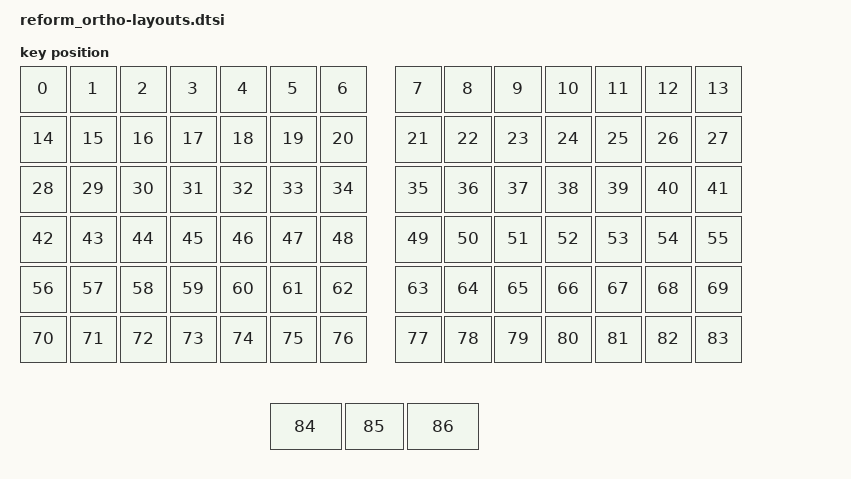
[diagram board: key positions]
/*
  SPDX-License-Identifier: GPL-3.0-or-later
  Copyright 2026 Gordon Q
*/

#include <physical_layouts.dtsi>

/ {
    reform_ortho_layout: reform_ortho_layout {
        compatible = "zmk,physical-layout";
        display-name = "MNT Reform Ortho Layout";

        keys  //                     w   h    x    y     rot    rx    ry
            = <&key_physical_attrs 100 100    0    0       0     0     0>
            , <&key_physical_attrs 100 100  100    0       0     0     0>
            , <&key_physical_attrs 100 100  200    0       0     0     0>
            , <&key_physical_attrs 100 100  300    0       0     0     0>
            , <&key_physical_attrs 100 100  400    0       0     0     0>
            , <&key_physical_attrs 100 100  500    0       0     0     0>
            , <&key_physical_attrs 100 100  600    0       0     0     0>
            , <&key_physical_attrs 100 100  750    0       0     0     0>
            , <&key_physical_attrs 100 100  850    0       0     0     0>
            , <&key_physical_attrs 100 100  950    0       0     0     0>
            , <&key_physical_attrs 100 100 1050    0       0     0     0>
            , <&key_physical_attrs 100 100 1150    0       0     0     0>
            , <&key_physical_attrs 100 100 1250    0       0     0     0>
            , <&key_physical_attrs 100 100 1350    0       0     0     0>
            , <&key_physical_attrs 100 100    0  100       0     0     0>
            , <&key_physical_attrs 100 100  100  100       0     0     0>
            , <&key_physical_attrs 100 100  200  100       0     0     0>
            , <&key_physical_attrs 100 100  300  100       0     0     0>
            , <&key_physical_attrs 100 100  400  100       0     0     0>
            , <&key_physical_attrs 100 100  500  100       0     0     0>
            , <&key_physical_attrs 100 100  600  100       0     0     0>
            , <&key_physical_attrs 100 100  750  100       0     0     0>
            , <&key_physical_attrs 100 100  850  100       0     0     0>
            , <&key_physical_attrs 100 100  950  100       0     0     0>
            , <&key_physical_attrs 100 100 1050  100       0     0     0>
            , <&key_physical_attrs 100 100 1150  100       0     0     0>
            , <&key_physical_attrs 100 100 1250  100       0     0     0>
            , <&key_physical_attrs 100 100 1350  100       0     0     0>
            , <&key_physical_attrs 100 100    0  200       0     0     0>
            , <&key_physical_attrs 100 100  100  200       0     0     0>
            , <&key_physical_attrs 100 100  200  200       0     0     0>
            , <&key_physical_attrs 100 100  300  200       0     0     0>
            , <&key_physical_attrs 100 100  400  200       0     0     0>
            , <&key_physical_attrs 100 100  500  200       0     0     0>
            , <&key_physical_attrs 100 100  600  200       0     0     0>
            , <&key_physical_attrs 100 100  750  200       0     0     0>
            , <&key_physical_attrs 100 100  850  200       0     0     0>
            , <&key_physical_attrs 100 100  950  200       0     0     0>
            , <&key_physical_attrs 100 100 1050  200       0     0     0>
            , <&key_physical_attrs 100 100 1150  200       0     0     0>
            , <&key_physical_attrs 100 100 1250  200       0     0     0>
            , <&key_physical_attrs 100 100 1350  200       0     0     0>
            , <&key_physical_attrs 100 100    0  300       0     0     0>
            , <&key_physical_attrs 100 100  100  300       0     0     0>
            , <&key_physical_attrs 100 100  200  300       0     0     0>
            , <&key_physical_attrs 100 100  300  300       0     0     0>
            , <&key_physical_attrs 100 100  400  300       0     0     0>
            , <&key_physical_attrs 100 100  500  300       0     0     0>
            , <&key_physical_attrs 100 100  600  300       0     0     0>
            , <&key_physical_attrs 100 100  750  300       0     0     0>
            , <&key_physical_attrs 100 100  850  300       0     0     0>
            , <&key_physical_attrs 100 100  950  300       0     0     0>
            , <&key_physical_attrs 100 100 1050  300       0     0     0>
            , <&key_physical_attrs 100 100 1150  300       0     0     0>
            , <&key_physical_attrs 100 100 1250  300       0     0     0>
            , <&key_physical_attrs 100 100 1350  300       0     0     0>
            , <&key_physical_attrs 100 100    0  400       0     0     0>
            , <&key_physical_attrs 100 100  100  400       0     0     0>
            , <&key_physical_attrs 100 100  200  400       0     0     0>
            , <&key_physical_attrs 100 100  300  400       0     0     0>
            , <&key_physical_attrs 100 100  400  400       0     0     0>
            , <&key_physical_attrs 100 100  500  400       0     0     0>
            , <&key_physical_attrs 100 100  600  400       0     0     0>
            , <&key_physical_attrs 100 100  750  400       0     0     0>
            , <&key_physical_attrs 100 100  850  400       0     0     0>
            , <&key_physical_attrs 100 100  950  400       0     0     0>
            , <&key_physical_attrs 100 100 1050  400       0     0     0>
            , <&key_physical_attrs 100 100 1150  400       0     0     0>
            , <&key_physical_attrs 100 100 1250  400       0     0     0>
            , <&key_physical_attrs 100 100 1350  400       0     0     0>
            , <&key_physical_attrs 100 100    0  500       0     0     0>
            , <&key_physical_attrs 100 100  100  500       0     0     0>
            , <&key_physical_attrs 100 100  200  500       0     0     0>
            , <&key_physical_attrs 100 100  300  500       0     0     0>
            , <&key_physical_attrs 100 100  400  500       0     0     0>
            , <&key_physical_attrs 100 100  500  500       0     0     0>
            , <&key_physical_attrs 100 100  600  500       0     0     0>
            , <&key_physical_attrs 100 100  750  500       0     0     0>
            , <&key_physical_attrs 100 100  850  500       0     0     0>
            , <&key_physical_attrs 100 100  950  500       0     0     0>
            , <&key_physical_attrs 100 100 1050  500       0     0     0>
            , <&key_physical_attrs 100 100 1150  500       0     0     0>
            , <&key_physical_attrs 100 100 1250  500       0     0     0>
            , <&key_physical_attrs 100 100 1350  500       0     0     0>
#if CONFIG_MNT_REFORM_MODE == 2 /* MNT_REFORM_MODE_NEXT */
            , <&key_physical_attrs 150 100  500  675       0     0     0>
            , <&key_physical_attrs 125 100  650  675       0     0     0>
            , <&key_physical_attrs 150 100  775  675       0     0     0>
#endif
            ;
    };
};
